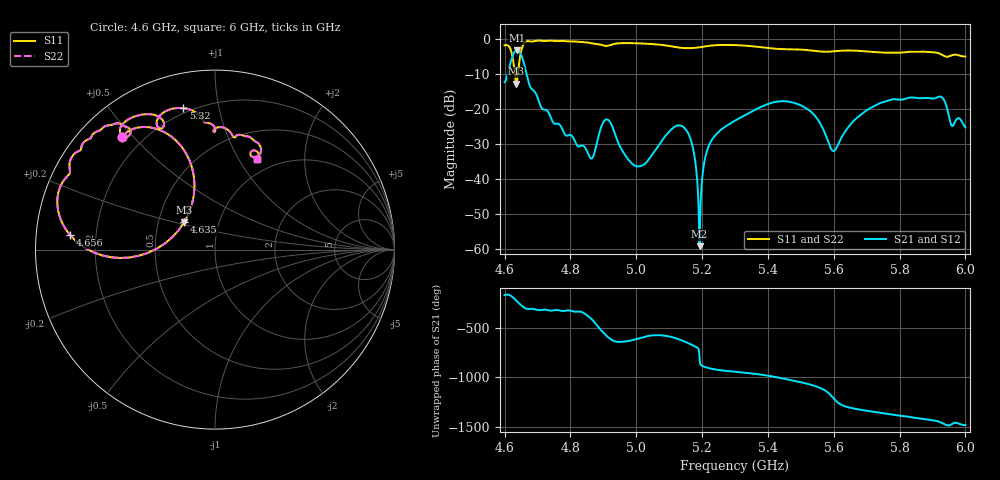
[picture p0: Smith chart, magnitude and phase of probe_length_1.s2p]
! TOUCHSTONE file generated by CST MICROWAVE STUDIO
! Date and time: Sat Nov 30 13:11:58 2024
! Project name: test_tuning.cst
! Parameters = {airCoaxOuterDiameter=3; chamferAngle=45; chamferWidth=24; connectorLength=10; drillingHoleDiameter=4.1; feedLength=60; flareDiameter=130; flareLength=70; gratingDistance=0; gratingGap=1.90274; outletLength=30; polarizerLength=134; probe1Diameter=1.3; probe1Distance=14; probe1Length=8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
! Header version: 2024
! Port assignment regex: !\s*Touchstone port\s*([0-9]+)\s*=\s*(CST MWS port|CST DES external port|CST DES block port)\s*(.+)\s* \(\"(.*)\"\)(\s*mode\s*([0-9]+))?.*
! Touchstone port assignment:
! Touchstone port 1 = CST MWS port 1 ("Input1")
! Touchstone port 2 = CST MWS port 2 ("Input2")
# GHz S MA R 50
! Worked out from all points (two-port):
!   1001 points, 4.6 GHz to 6 GHz, reference 50 ohm
!   highest |S21| = -3.23 dB at 4.638 GHz (marker M1); lowest = -59.2 dB at 5.192 GHz (marker M2)
!   |S21| within 3 dB of the highest: 4.62 GHz to 4.656 GHz (36.9 MHz wide, 0.796 % of centre)
!   lowest |S11| = -12.8 dB at 4.635 GHz (marker M3), VSWR 1.60, Z = 33.9 + j10.9 ohm
!   |S11| at or under -10 dB: 4.631062 GHz to 4.640269 GHz (9.207 MHz wide, 0.199 % of centre)
!   |S22| runs from -12.8 to -0.4 dB; largest |S21 - S12| = 2.2e-06
!   S11 on the Smith chart (normalised r, x): 4.6 GHz: 0.13, +0.47; 4.635 GHz: 0.68, +0.22; 4.656 GHz: 0.10, +0.05; 5.32 GHz: 0.17, +0.79; 6 GHz: 0.82, +1.20
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4.6  0.812 129.4  0.2417 -161.6  0.2417 -161.6  0.812 129.4
4.6182  0.7073 113.0  0.4627 -169.0  0.4627 -169.0  0.7073 113.0
4.635  0.2295 138.4  0.685 142.4  0.685 142.4  0.2295 138.4
4.6378  0.2489 164.2  0.6898 133.2  0.6898 133.2  0.2489 164.2
4.656  0.8131 174.2  0.4969 77.9  0.4969 77.9  0.8131 174.2
4.7134  0.9377 144.2  0.1016 46.7  0.1016 46.7  0.9377 144.2
4.8338  0.9023 129.6  0.02987 25.1  0.02987 25.1  0.9023 129.6
4.866  0.8623 126.5  0.01976 -53.6  0.01976 -53.6  0.8623 126.5
4.9108  0.7959 127.6  0.0708 139.3  0.0708 139.3  0.7959 127.6
4.9962  0.8675 121.5  0.01542 105.4  0.01542 105.4  0.8675 121.5
5.0676  0.83 114.9  0.0298 149.1  0.0298 149.1  0.83 114.9
5.1516  0.7382 113.3  0.05005 77.3  0.05005 77.3  0.7382 113.3
5.174  0.7428 114.6  0.02518 42.7  0.02518 42.7  0.7428 114.6
5.1922  0.76 115.0  0.001094 -77.0  0.001094 -77.0  0.76 115.0
5.2216  0.7978 113.5  0.03068 172.5  0.03068 172.5  0.7978 113.5
5.3  0.8154 104.7  0.06805 136.9  0.06805 136.9  0.8154 104.7
5.3196  0.8073 102.6  0.07638 130.7  0.07638 130.7  0.8073 102.6
5.5338  0.6806 90.1  0.08848 1.5  0.08848 1.5  0.6806 90.1
5.5996  0.6648 90.7  0.02502 -134.3  0.02502 -134.3  0.6648 90.7
5.7676  0.6354 80.7  0.1325 66.0  0.1325 66.0  0.6354 80.7
5.9244  0.6081 65.0  0.1496 -16.9  0.1496 -16.9  0.6081 65.0
6  0.5585 65.1  0.05436 -46.0  0.05436 -46.0  0.5585 65.1
